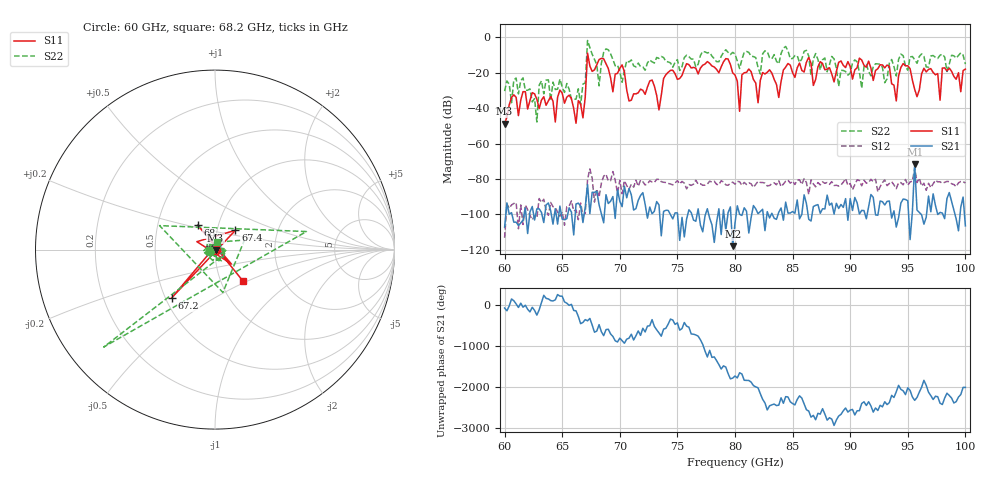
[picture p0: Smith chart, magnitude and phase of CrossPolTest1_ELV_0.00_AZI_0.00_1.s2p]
! 11/25/2026 10:37:39 AM
! C:\ANRITSUVNA\TEMP\TEMP.S2P
! CHANNEL.1
! TR.MEASUREMENT
! RAW.DATA
# HZ S RI R 50.0
! FREQ.HZ  S11RE  S11IM  S21RE  S21IM  S12RE  S12IM  S22RE  S22IM
!; PortSelection: Port_12
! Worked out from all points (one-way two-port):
!   201 points, 60 GHz to 100 GHz, reference 50 ohm
!   highest |S21| = -71.60 dB at 95.6 GHz (marker M1); lowest = -118.0 dB at 79.8 GHz (marker M2)
!   lowest |S11| = -48.7 dB at 60 GHz (marker M3), VSWR 1.01, Z = 50.3 - j0.191 ohm
!   |S11| at or under -10 dB: start of sweep to 67.19 GHz; 67.23 GHz to end of sweep
!   |S22| runs from -47.8 to -1.7 dB; largest |S21 - S12| = 0.00047
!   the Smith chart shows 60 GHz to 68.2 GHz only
!   S11 on the Smith chart (normalised r, x): 60 GHz: 1.01, -0.00; 67.2 GHz: 0.54, -0.33; 67.4 GHz: 1.22, +0.27; 68 GHz: 0.79, +0.22; 68.2 GHz: 1.27, -0.48
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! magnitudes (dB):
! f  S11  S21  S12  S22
! 60 GHz  -48.7  -107.2  -113.2  -30.3
! 61.6 GHz  -30.6  -103.2  -105.7  -22.9
! 62.8 GHz  -34.9  -96.9  -101.9  -47.8
! 63.2 GHz  -35.4  -98.9  -93.2  -24.5
! 66.8 GHz  -45.4  -104.6  -100.6  -26.3
! 67.2 GHz  -8.9  -83.1  -80.2  -1.7
! 67.4 GHz  -16.1  -99.6  -74.3  -5.7
! 68 GHz  -15.5  -86.9  -85.7  -15.3
! 68.2 GHz  -12.5  -94.5  -90.2  -27.3
! 68.8 GHz  -14.8  -88.9  -77.3  -6.5
! 70.2 GHz  -15.5  -95.6  -88.3  -25.3
! 73.4 GHz  -40.9  -94.6  -80.2  -11.8
! 74.4 GHz  -18.6  -100.2  -82.8  -14.4
! 79.8 GHz  -20.0  -118.0  -81.8  -8.4
! 80 GHz  -21.2  -104.9  -82.9  -9.4
! 80.4 GHz  -41.7  -100.0  -81.5  -17.5
! 81.2 GHz  -17.8  -110.5  -82.1  -8.4
! 82 GHz  -36.9  -99.6  -81.3  -17.0
! 86.8 GHz  -27.1  -95.6  -82.7  -12.2
! 93.4 GHz  -16.3  -92.4  -82.5  -14.5
! 95.6 GHz  -29.4  -71.6  -73.7  -12.5
! 100 GHz  -17.9  -106.5  -82.3  -15.0
